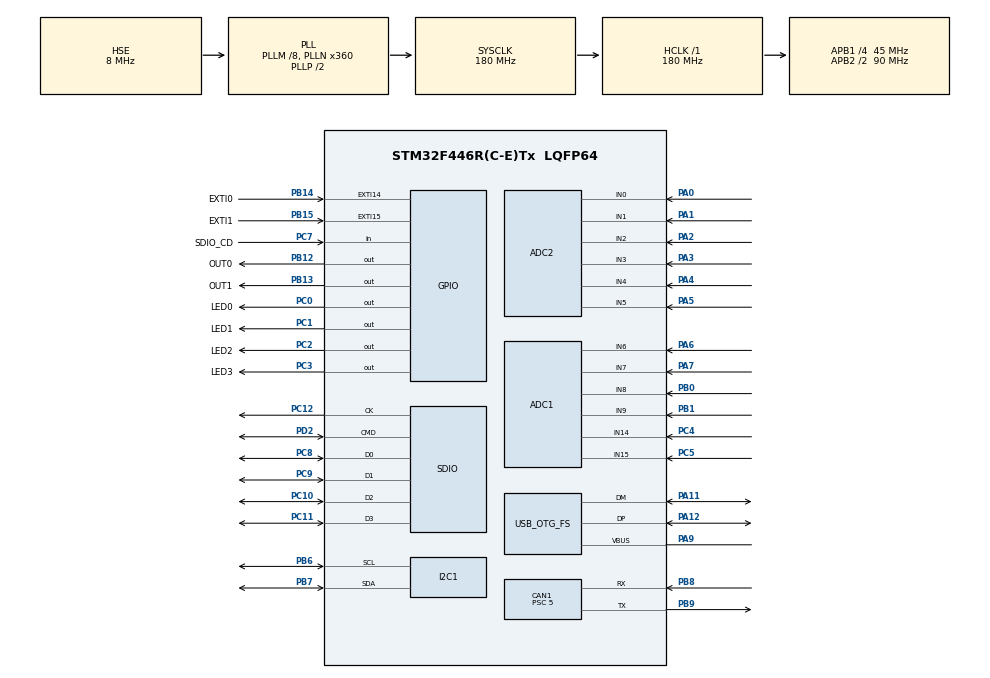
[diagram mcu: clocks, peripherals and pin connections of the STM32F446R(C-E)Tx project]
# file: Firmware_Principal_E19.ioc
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ADC1.Channel-0\#ChannelRegularConversion=ADC_CHANNEL_6
ADC1.Channel-1\#ChannelRegularConversion=ADC_CHANNEL_7
ADC1.Channel-2\#ChannelRegularConversion=ADC_CHANNEL_14
ADC1.Channel-3\#ChannelRegularConversion=ADC_CHANNEL_15
ADC1.Channel-4\#ChannelRegularConversion=ADC_CHANNEL_8
ADC1.Channel-5\#ChannelRegularConversion=ADC_CHANNEL_9
ADC1.ContinuousConvMode=ENABLE
ADC1.DMAContinuousRequests=ENABLE
ADC1.NbrOfConversion=6
ADC1.NbrOfConversionFlag=1
ADC1.Rank-0\#ChannelRegularConversion=1
ADC1.Rank-1\#ChannelRegularConversion=2
ADC1.Rank-2\#ChannelRegularConversion=3
ADC1.Rank-3\#ChannelRegularConversion=4
ADC1.Rank-4\#ChannelRegularConversion=5
ADC1.Rank-5\#ChannelRegularConversion=6
ADC1.SamplingTime-0\#ChannelRegularConversion=ADC_SAMPLETIME_480CYCLES
ADC1.SamplingTime-1\#ChannelRegularConversion=ADC_SAMPLETIME_480CYCLES
ADC1.SamplingTime-2\#ChannelRegularConversion=ADC_SAMPLETIME_480CYCLES
ADC1.SamplingTime-3\#ChannelRegularConversion=ADC_SAMPLETIME_480CYCLES
ADC1.SamplingTime-4\#ChannelRegularConversion=ADC_SAMPLETIME_480CYCLES
ADC1.SamplingTime-5\#ChannelRegularConversion=ADC_SAMPLETIME_480CYCLES
ADC1.ScanConvMode=ENABLE
ADC1.master=1
ADC2.Channel-0\#ChannelRegularConversion=ADC_CHANNEL_0
ADC2.Channel-1\#ChannelRegularConversion=ADC_CHANNEL_1
ADC2.Channel-2\#ChannelRegularConversion=ADC_CHANNEL_2
ADC2.Channel-3\#ChannelRegularConversion=ADC_CHANNEL_3
ADC2.Channel-4\#ChannelRegularConversion=ADC_CHANNEL_4
ADC2.Channel-5\#ChannelRegularConversion=ADC_CHANNEL_5
ADC2.ContinuousConvMode=ENABLE
ADC2.DMAContinuousRequests=ENABLE
ADC2.NbrOfConversion=6
ADC2.NbrOfConversionFlag=1
ADC2.Rank-0\#ChannelRegularConversion=1
ADC2.Rank-1\#ChannelRegularConversion=2
ADC2.Rank-2\#ChannelRegularConversion=3
ADC2.Rank-3\#ChannelRegularConversion=4
ADC2.Rank-4\#ChannelRegularConversion=5
ADC2.Rank-5\#ChannelRegularConversion=6
ADC2.SamplingTime-0\#ChannelRegularConversion=ADC_SAMPLETIME_480CYCLES
ADC2.SamplingTime-1\#ChannelRegularConversion=ADC_SAMPLETIME_480CYCLES
ADC2.SamplingTime-2\#ChannelRegularConversion=ADC_SAMPLETIME_480CYCLES
ADC2.SamplingTime-3\#ChannelRegularConversion=ADC_SAMPLETIME_480CYCLES
ADC2.SamplingTime-4\#ChannelRegularConversion=ADC_SAMPLETIME_480CYCLES
ADC2.SamplingTime-5\#ChannelRegularConversion=ADC_SAMPLETIME_480CYCLES
ADC2.ScanConvMode=ENABLE
CAN1.BS1=CAN_BS1_7TQ
CAN1.CalculateBaudRate=1000000
CAN1.CalculateTimeBit=1000
CAN1.CalculateTimeQuantum=111.11111111111111
CAN1.Prescaler=5
CAN1.SJW=CAN_SJW_1TQ
Dma.ADC1.0.Direction=DMA_PERIPH_TO_MEMORY
Dma.ADC1.0.FIFOMode=DMA_FIFOMODE_DISABLE
Dma.ADC1.0.Instance=DMA2_Stream0
Dma.ADC1.0.MemDataAlignment=DMA_MDATAALIGN_HALFWORD
Dma.ADC1.0.MemInc=DMA_MINC_ENABLE
Dma.ADC1.0.Mode=DMA_CIRCULAR
Dma.ADC1.0.PeriphDataAlignment=DMA_PDATAALIGN_HALFWORD
Dma.ADC1.0.PeriphInc=DMA_PINC_DISABLE
Dma.ADC1.0.Priority=DMA_PRIORITY_LOW
Dma.ADC2.1.Direction=DMA_PERIPH_TO_MEMORY
Dma.ADC2.1.FIFOMode=DMA_FIFOMODE_DISABLE
Dma.ADC2.1.Instance=DMA2_Stream2
Dma.ADC2.1.MemDataAlignment=DMA_MDATAALIGN_HALFWORD
Dma.ADC2.1.MemInc=DMA_MINC_ENABLE
Dma.ADC2.1.Mode=DMA_CIRCULAR
Dma.ADC2.1.PeriphDataAlignment=DMA_PDATAALIGN_HALFWORD
Dma.ADC2.1.PeriphInc=DMA_PINC_DISABLE
Dma.ADC2.1.Priority=DMA_PRIORITY_LOW
Dma.Request0=ADC1
Dma.Request1=ADC2
FATFS.BSP.number=1
FATFS.USE_DMA_CODE_SD=0
FATFS._CODE_PAGE=437
FATFS._FS_LOCK=0
FATFS._MAX_SS=4096
FATFS._STRF_ENCODE=3
FATFS._USE_LFN=1
FATFS0.BSP.STBoard=false
FATFS0.BSP.api=Unknown
FATFS0.BSP.instance=PC7
FATFS0.BSP.ip=GPIO
FATFS0.BSP.mode=Input
FATFS0.BSP.name=Detect_SDIO
FATFS0.BSP.solution=PC7
I2C1.I2C_Mode=I2C_Fast
Mcu.Family=STM32F4
Mcu.Name=STM32F446R(C-E)Tx
Mcu.Package=LQFP64
NVIC.CAN1_RX0_IRQn=true\:1\:0\:true\:false\:true\:true\:true\:true
NVIC.DMA2_Stream0_IRQn=true\:2\:0\:true\:false\:true\:false\:true\:true
NVIC.DMA2_Stream2_IRQn=true\:2\:0\:true\:false\:true\:false\:true\:true
NVIC.EXTI15_10_IRQn=true\:1\:0\:true\:false\:true\:true\:true\:true
NVIC.OTG_FS_IRQn=true\:0\:0\:false\:false\:true\:true\:true\:true
NVIC.PriorityGroup=NVIC_PRIORITYGROUP_4
NVIC.SDIO_IRQn=true\:0\:0\:true\:false\:true\:true\:true\:true
NVIC.TIM7_IRQn=true\:0\:0\:false\:false\:true\:true\:true\:true
PA0-WKUP.Signal=ADCx_IN0
PA1.Signal=ADCx_IN1
PA11.Mode=Device_Only
PA11.Signal=USB_OTG_FS_DM
PA12.Mode=Device_Only
PA12.Signal=USB_OTG_FS_DP
PA13.Mode=Serial_Wire
PA13.Signal=SYS_JTMS-SWDIO
PA14.Mode=Serial_Wire
PA14.Signal=SYS_JTCK-SWCLK
PA2.Signal=ADCx_IN2
PA3.Signal=ADCx_IN3
PA4.Signal=ADCx_IN4
PA5.Signal=ADCx_IN5
PA6.Signal=ADCx_IN6
PA7.Signal=ADCx_IN7
PA9.Mode=Activate_VBUS
PA9.Signal=USB_OTG_FS_VBUS
PB0.Signal=ADCx_IN8
PB1.Signal=ADCx_IN9
PB12.GPIO_Label=OUT0
PB12.Signal=GPIO_Output
PB13.GPIO_Label=OUT1
PB13.Signal=GPIO_Output
PB14.GPIO_Label=EXTI0
PB14.GPIO_ModeDefaultEXTI=GPIO_MODE_IT_RISING_FALLING
PB14.Signal=GPXTI14
PB15.GPIO_Label=EXTI1
PB15.GPIO_ModeDefaultEXTI=GPIO_MODE_IT_RISING_FALLING
PB15.Signal=GPXTI15
PB6.Mode=I2C
PB6.Signal=I2C1_SCL
PB7.Mode=I2C
PB7.Signal=I2C1_SDA
PB8.Mode=CAN_Activate
PB8.Signal=CAN1_RX
PB9.Mode=CAN_Activate
PB9.Signal=CAN1_TX
PC0.GPIO_Label=LED0
PC0.Signal=GPIO_Output
PC1.GPIO_Label=LED1
PC1.Signal=GPIO_Output
PC10.Mode=SD_4_bits_Wide_bus
PC10.Signal=SDIO_D2
PC11.Mode=SD_4_bits_Wide_bus
PC11.Signal=SDIO_D3
PC12.Mode=SD_4_bits_Wide_bus
PC12.Signal=SDIO_CK
PC14-OSC32_IN.Mode=LSE-External-Oscillator
PC14-OSC32_IN.Signal=RCC_OSC32_IN
PC15-OSC32_OUT.Mode=LSE-External-Oscillator
PC15-OSC32_OUT.Signal=RCC_OSC32_OUT
PC2.GPIO_Label=LED2
PC2.Signal=GPIO_Output
PC3.GPIO_Label=LED3
PC3.Signal=GPIO_Output
PC4.Signal=ADCx_IN14
PC5.Signal=ADCx_IN15
PC7.GPIO_Label=SDIO_CD
PC7.Signal=GPIO_Input
PC8.Mode=SD_4_bits_Wide_bus
PC8.Signal=SDIO_D0
PC9.Mode=SD_4_bits_Wide_bus
PC9.Signal=SDIO_D1
PD2.Mode=SD_4_bits_Wide_bus
PD2.Signal=SDIO_CMD
PH0-OSC_IN.Mode=HSE-External-Oscillator
PH0-OSC_IN.Signal=RCC_OSC_IN
PH1-OSC_OUT.Mode=HSE-External-Oscillator
PH1-OSC_OUT.Signal=RCC_OSC_OUT
ProjectManager.HeapSize=0x1000
ProjectManager.StackSize=0x8000
ProjectManager.TargetToolchain=STM32CubeIDE
RCC.AHBFreq_Value=180000000
RCC.APB1CLKDivider=RCC_HCLK_DIV4
RCC.APB1Freq_Value=45000000
RCC.APB1TimFreq_Value=90000000
RCC.APB2CLKDivider=RCC_HCLK_DIV2
RCC.APB2Freq_Value=90000000
RCC.APB2TimFreq_Value=180000000
RCC.CortexFreq_Value=180000000
RCC.HCLKFreq_Value=180000000
RCC.HSE_VALUE=8000000
RCC.PLLM=8
RCC.PLLN=360
RCC.PLLQ=6
RCC.PLLSAIM=8
RCC.PLLSAIP=RCC_PLLSAIP_DIV4
RCC.PLLSourceVirtual=RCC_PLLSOURCE_HSE
RCC.RCC_RTC_Clock_SourceVirtual=RCC_RTCCLKSOURCE_LSE
RCC.SYSCLKFreq_VALUE=180000000
RCC.SYSCLKSource=RCC_SYSCLKSOURCE_PLLCLK
RCC.USBCLockSelection=RCC_CLK48CLKSOURCE_PLLSAIP
RCC.USBFreq_Value=48000000
RCC.VCOOutputFreq_Value=360000000
RTC.Format=RTC_FORMAT_BIN
SDIO.ClockDiv=2
SDIO.HardwareFlowControl=SDIO_HARDWARE_FLOW_CONTROL_ENABLE
SH.ADCx_IN0.0=ADC2_IN0,IN0
SH.ADCx_IN1.0=ADC2_IN1,IN1
SH.ADCx_IN14.0=ADC1_IN14,IN14
SH.ADCx_IN15.0=ADC1_IN15,IN15
SH.ADCx_IN2.0=ADC2_IN2,IN2
SH.ADCx_IN3.0=ADC2_IN3,IN3
SH.ADCx_IN4.0=ADC2_IN4,IN4
SH.ADCx_IN5.0=ADC2_IN5,IN5
SH.ADCx_IN6.0=ADC1_IN6,IN6
SH.ADCx_IN7.0=ADC1_IN7,IN7
SH.ADCx_IN8.0=ADC1_IN8,IN8
SH.ADCx_IN9.0=ADC1_IN9,IN9
TIM7.Period=999
TIM7.Prescaler=89
USB_DEVICE.CLASS_NAME_FS=MSC
USB_DEVICE.PRODUCT_STRING_MSC_FS=FSAE Datalogger
USB_DEVICE.VirtualMode-MSC_FS=Msc
USB_DEVICE.VirtualModeFS=Msc_FS
USB_OTG_FS.VirtualMode=Device_Only
VP_FATFS_VS_SDIO.Mode=SDIO
VP_RTC_VS_RTC_Activate.Mode=RTC_Enabled
VP_RTC_VS_RTC_Calendar.Mode=RTC_Calendar
VP_TIM7_VS_ClockSourceINT.Mode=Enable_Timer
VP_USB_DEVICE_VS_USB_DEVICE_MSC_FS.Mode=MSC_FS
board=custom

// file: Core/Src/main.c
/* USER CODE BEGIN Header */
/**
  ******************************************************************************
  * @file           : main.c
  * @brief          : Main program body
  ******************************************************************************
  * @attention
  *
  * Copyright (c) 2021 STMicroelectronics.
  * All rights reserved.
  *
  * This software is licensed under terms that can be found in the LICENSE file
  * in the root directory of this software component.
  * If no LICENSE file comes with this software, it is provided AS-IS.
  *
  ******************************************************************************
  */
/* USER CODE END Header */
#include "main.h"
#include "fatfs.h"
#include "usb_device.h"

/* USER CODE BEGIN Includes */
#include "principal.h"
/* USER CODE END Includes */

 ADC_HandleTypeDef hadc1;
ADC_HandleTypeDef hadc2;
DMA_HandleTypeDef hdma_adc1;
DMA_HandleTypeDef hdma_adc2;

CAN_HandleTypeDef hcan1;

I2C_HandleTypeDef hi2c1;

RTC_HandleTypeDef hrtc;

SD_HandleTypeDef hsd;

TIM_HandleTypeDef htim7;

void SystemClock_Config(void);
void PeriphCommonClock_Config(void);
static void MX_GPIO_Init(void);
static void MX_DMA_Init(void);
static void MX_SDIO_SD_Init(void);
static void MX_ADC1_Init(void);
static void MX_RTC_Init(void);
static void MX_ADC2_Init(void);
static void MX_CAN1_Init(void);
static void MX_I2C1_Init(void);
static void MX_TIM7_Init(void);

int main(void)
{

  /* MCU Configuration--------------------------------------------------------*/

  /* Reset of all peripherals, Initializes the Flash interface and the Systick. */
  HAL_Init();

  /* Configure the system clock */
  SystemClock_Config();

/* Configure the peripherals common clocks */
  PeriphCommonClock_Config();

  /* Initialize all configured peripherals */
  MX_GPIO_Init();
  MX_DMA_Init();
  MX_SDIO_SD_Init();
  MX_ADC1_Init();
  MX_RTC_Init();
  MX_FATFS_Init();
  MX_USB_DEVICE_Init();
  MX_ADC2_Init();
  MX_CAN1_Init();
  MX_I2C1_Init();
  MX_TIM7_Init();
  /* USER CODE BEGIN 2 */
  Principal_Init(&hcan1, &hi2c1, &htim7);
//  HAL_IWDG_Refresh(&hiwdg);
  /* USER CODE END 2 */

  /* Infinite loop */
  /* USER CODE BEGIN WHILE */
  while (1)
  {
	  //Checks card detect pin level change for datalogger initialization or deinitialization
	  Principal_Card_Detection();

	  //Starts saving data if conditions are met
	  Principal_Datalogger_Start();

	  //Analog inputs 1-4 CAN message
	  if((accMsg[ANALOG_1_4] >= perMsg[ANALOG_1_4]) && (perMsg[ANALOG_1_4] != MSG_DISABLED))
	  {
		  accMsg[ANALOG_1_4] -= perMsg[ANALOG_1_4];
		  Principal_Transmit_Msg(&hcan1, ANALOG_1_4);
	  }

	  //Analog inputs 5-8 CAN message
	  if((accMsg[ANALOG_5_8] >= perMsg[ANALOG_5_8]) && (perMsg[ANALOG_5_8] != MSG_DISABLED))
	  {
		  accMsg[ANALOG_5_8] -= perMsg[ANALOG_5_8];
		  Principal_Transmit_Msg(&hcan1, ANALOG_5_8);
	  }

	  //Analog inputs 9-12 CAN message
	  if((accMsg[ANALOG_9_12] >= perMsg[ANALOG_9_12]) && (perMsg[ANALOG_9_12] != MSG_DISABLED))
	  {
		  accMsg[ANALOG_9_12] -= perMsg[ANALOG_9_12];
		  Principal_Transmit_Msg(&hcan1, ANALOG_9_12);
	  }

	  //RTC, both date and time
	  if((accMsg[RTC_MSG] >= perMsg[RTC_MSG]) && (perMsg[RTC_MSG] != MSG_DISABLED))
	  {
		  accMsg[RTC_MSG] -= perMsg[RTC_MSG];
		  Principal_Transmit_Msg(&hcan1, RTC_MSG);
	  }

	  //Inputs and datalogger verify CAN message
	  if((accMsg[VERIFY_MSG] >= perMsg[VERIFY_MSG]) && (perMsg[VERIFY_MSG] != MSG_DISABLED))
	  {
		  accMsg[VERIFY_MSG] -= perMsg[VERIFY_MSG];
		  Principal_Transmit_Msg(&hcan1, VERIFY_MSG);
	  }

	  //ECU saved data (no transmission)
	  if((accMsg[ECU_SAVE] >= perMsg[ECU_SAVE]) && (perMsg[ECU_SAVE] != MSG_DISABLED))
	  {
		  accMsg[ECU_SAVE] -= perMsg[ECU_SAVE];
		  Principal_Transmit_Msg(&hcan1, ECU_SAVE);
	  }

	  //PDM saved data (no transmission)
	  if((accMsg[PDM_SAVE] >= perMsg[PDM_SAVE]) && (perMsg[PDM_SAVE] != MSG_DISABLED))
	  {
		  accMsg[PDM_SAVE] -= perMsg[PDM_SAVE];
//		  Principal_Transmit_Msg(&hcan1, PDM_SAVE);
	  }

	  if(accMsg[VERIFY_LEDS] >= MSG_FREQ_5HZ)
	  {
		  accMsg[VERIFY_LEDS] -= MSG_FREQ_5HZ;
		  Principal_Verify_LEDs();
	  }

//	  if((verifyCAN != 0) && (flagDatalogger != DL_ERROR))
//		  HAL_IWDG_Refresh(&hiwdg);
    /* USER CODE END WHILE */

  }
}

void SystemClock_Config(void)
{
  RCC_OscInitTypeDef RCC_OscInitStruct = {0};
  RCC_ClkInitTypeDef RCC_ClkInitStruct = {0};

  /** Configure the main internal regulator output voltage
  */
  __HAL_RCC_PWR_CLK_ENABLE();
  __HAL_PWR_VOLTAGESCALING_CONFIG(PWR_REGULATOR_VOLTAGE_SCALE1);

  /** Initializes the RCC Oscillators according to the specified parameters
  * in the RCC_OscInitTypeDef structure.
  */
  RCC_OscInitStruct.OscillatorType = RCC_OSCILLATORTYPE_HSE|RCC_OSCILLATORTYPE_LSE;
  RCC_OscInitStruct.HSEState = RCC_HSE_ON;
  RCC_OscInitStruct.LSEState = RCC_LSE_ON;
  RCC_OscInitStruct.PLL.PLLState = RCC_PLL_ON;
  RCC_OscInitStruct.PLL.PLLSource = RCC_PLLSOURCE_HSE;
  RCC_OscInitStruct.PLL.PLLM = 8;
  RCC_OscInitStruct.PLL.PLLN = 360;
  RCC_OscInitStruct.PLL.PLLP = RCC_PLLP_DIV2;
  RCC_OscInitStruct.PLL.PLLQ = 6;
  RCC_OscInitStruct.PLL.PLLR = 2;
  if (HAL_RCC_OscConfig(&RCC_OscInitStruct) != HAL_OK)
  {
    Error_Handler();
  }

  /** Activate the Over-Drive mode
  */
  if (HAL_PWREx_EnableOverDrive() != HAL_OK)
  {
    Error_Handler();
  }

  /** Initializes the CPU, AHB and APB buses clocks
  */
  RCC_ClkInitStruct.ClockType = RCC_CLOCKTYPE_HCLK|RCC_CLOCKTYPE_SYSCLK
                              |RCC_CLOCKTYPE_PCLK1|RCC_CLOCKTYPE_PCLK2;
  RCC_ClkInitStruct.SYSCLKSource = RCC_SYSCLKSOURCE_PLLCLK;
  RCC_ClkInitStruct.AHBCLKDivider = RCC_SYSCLK_DIV1;
  RCC_ClkInitStruct.APB1CLKDivider = RCC_HCLK_DIV4;
  RCC_ClkInitStruct.APB2CLKDivider = RCC_HCLK_DIV2;

  if (HAL_RCC_ClockConfig(&RCC_ClkInitStruct, FLASH_LATENCY_5) != HAL_OK)
  {
    Error_Handler();
  }
}

void PeriphCommonClock_Config(void)
{
  RCC_PeriphCLKInitTypeDef PeriphClkInitStruct = {0};

  /** Initializes the peripherals clock
  */
  PeriphClkInitStruct.PeriphClockSelection = RCC_PERIPHCLK_SDIO|RCC_PERIPHCLK_CLK48;
  PeriphClkInitStruct.PLLSAI.PLLSAIM = 8;
  PeriphClkInitStruct.PLLSAI.PLLSAIN = 192;
  PeriphClkInitStruct.PLLSAI.PLLSAIQ = 2;
  PeriphClkInitStruct.PLLSAI.PLLSAIP = RCC_PLLSAIP_DIV4;
  PeriphClkInitStruct.PLLSAIDivQ = 1;
  PeriphClkInitStruct.Clk48ClockSelection = RCC_CLK48CLKSOURCE_PLLSAIP;
  PeriphClkInitStruct.SdioClockSelection = RCC_SDIOCLKSOURCE_CLK48;
  if (HAL_RCCEx_PeriphCLKConfig(&PeriphClkInitStruct) != HAL_OK)
  {
    Error_Handler();
  }
}

static void MX_ADC1_Init(void)
{

  ADC_ChannelConfTypeDef sConfig = {0};

  /** Configure the global features of the ADC (Clock, Resolution, Data Alignment and number of conversion)
  */
  hadc1.Instance = ADC1;
  hadc1.Init.ClockPrescaler = ADC_CLOCK_SYNC_PCLK_DIV4;
  hadc1.Init.Resolution = ADC_RESOLUTION_12B;
  hadc1.Init.ScanConvMode = ENABLE;
  hadc1.Init.ContinuousConvMode = ENABLE;
  hadc1.Init.DiscontinuousConvMode = DISABLE;
  hadc1.Init.ExternalTrigConvEdge = ADC_EXTERNALTRIGCONVEDGE_NONE;
  hadc1.Init.ExternalTrigConv = ADC_SOFTWARE_START;
  hadc1.Init.DataAlign = ADC_DATAALIGN_RIGHT;
  hadc1.Init.NbrOfConversion = 6;
  hadc1.Init.DMAContinuousRequests = ENABLE;
  hadc1.Init.EOCSelection = ADC_EOC_SINGLE_CONV;
  if (HAL_ADC_Init(&hadc1) != HAL_OK)
  {
    Error_Handler();
  }

  /** Configure for the selected ADC regular channel its corresponding rank in the sequencer and its sample time.
  */
  sConfig.Channel = ADC_CHANNEL_6;
  sConfig.Rank = 1;
  sConfig.SamplingTime = ADC_SAMPLETIME_480CYCLES;
  if (HAL_ADC_ConfigChannel(&hadc1, &sConfig) != HAL_OK)
  {
    Error_Handler();
  }

  /** Configure for the selected ADC regular channel its corresponding rank in the sequencer and its sample time.
  */
  sConfig.Channel = ADC_CHANNEL_7;
  sConfig.Rank = 2;
  if (HAL_ADC_ConfigChannel(&hadc1, &sConfig) != HAL_OK)
  {
    Error_Handler();
  }

  /** Configure for the selected ADC regular channel its corresponding rank in the sequencer and its sample time.
  */
  sConfig.Channel = ADC_CHANNEL_14;
  sConfig.Rank = 3;
  if (HAL_ADC_ConfigChannel(&hadc1, &sConfig) != HAL_OK)
  {
    Error_Handler();
  }

  /** Configure for the selected ADC regular channel its corresponding rank in the sequencer and its sample time.
  */
  sConfig.Channel = ADC_CHANNEL_15;
  sConfig.Rank = 4;
  if (HAL_ADC_ConfigChannel(&hadc1, &sConfig) != HAL_OK)
  {
    Error_Handler();
  }

  /** Configure for the selected ADC regular channel its corresponding rank in the sequencer and its sample time.
  */
  sConfig.Channel = ADC_CHANNEL_8;
  sConfig.Rank = 5;
  if (HAL_ADC_ConfigChannel(&hadc1, &sConfig) != HAL_OK)
  {
    Error_Handler();
  }

  /** Configure for the selected ADC regular channel its corresponding rank in the sequencer and its sample time.
  */
  sConfig.Channel = ADC_CHANNEL_9;
  sConfig.Rank = 6;
  if (HAL_ADC_ConfigChannel(&hadc1, &sConfig) != HAL_OK)
  {
    Error_Handler();
  }

}

static void MX_ADC2_Init(void)
{

  ADC_ChannelConfTypeDef sConfig = {0};

  /** Configure the global features of the ADC (Clock, Resolution, Data Alignment and number of conversion)
  */
  hadc2.Instance = ADC2;
  hadc2.Init.ClockPrescaler = ADC_CLOCK_SYNC_PCLK_DIV4;
  hadc2.Init.Resolution = ADC_RESOLUTION_12B;
  hadc2.Init.ScanConvMode = ENABLE;
  hadc2.Init.ContinuousConvMode = ENABLE;
  hadc2.Init.DiscontinuousConvMode = DISABLE;
  hadc2.Init.ExternalTrigConvEdge = ADC_EXTERNALTRIGCONVEDGE_NONE;
  hadc2.Init.ExternalTrigConv = ADC_SOFTWARE_START;
  hadc2.Init.DataAlign = ADC_DATAALIGN_RIGHT;
  hadc2.Init.NbrOfConversion = 6;
  hadc2.Init.DMAContinuousRequests = ENABLE;
  hadc2.Init.EOCSelection = ADC_EOC_SINGLE_CONV;
  if (HAL_ADC_Init(&hadc2) != HAL_OK)
  {
    Error_Handler();
  }

  /** Configure for the selected ADC regular channel its corresponding rank in the sequencer and its sample time.
  */
  sConfig.Channel = ADC_CHANNEL_0;
  sConfig.Rank = 1;
  sConfig.SamplingTime = ADC_SAMPLETIME_480CYCLES;
  if (HAL_ADC_ConfigChannel(&hadc2, &sConfig) != HAL_OK)
  {
    Error_Handler();
  }

  /** Configure for the selected ADC regular channel its corresponding rank in the sequencer and its sample time.
  */
  sConfig.Channel = ADC_CHANNEL_1;
  sConfig.Rank = 2;
  if (HAL_ADC_ConfigChannel(&hadc2, &sConfig) != HAL_OK)
  {
    Error_Handler();
  }

  /** Configure for the selected ADC regular channel its corresponding rank in the sequencer and its sample time.
  */
  sConfig.Channel = ADC_CHANNEL_2;
  sConfig.Rank = 3;
  if (HAL_ADC_ConfigChannel(&hadc2, &sConfig) != HAL_OK)
  {
    Error_Handler();
  }

  /** Configure for the selected ADC regular channel its corresponding rank in the sequencer and its sample time.
  */
  sConfig.Channel = ADC_CHANNEL_3;
  sConfig.Rank = 4;
  if (HAL_ADC_ConfigChannel(&hadc2, &sConfig) != HAL_OK)
  {
    Error_Handler();
  }

  /** Configure for the selected ADC regular channel its corresponding rank in the sequencer and its sample time.
  */
  sConfig.Channel = ADC_CHANNEL_4;
  sConfig.Rank = 5;
  if (HAL_ADC_ConfigChannel(&hadc2, &sConfig) != HAL_OK)
  {
    Error_Handler();
  }

  /** Configure for the selected ADC regular channel its corresponding rank in the sequencer and its sample time.
  */
  sConfig.Channel = ADC_CHANNEL_5;
  sConfig.Rank = 6;
  if (HAL_ADC_ConfigChannel(&hadc2, &sConfig) != HAL_OK)
  {
    Error_Handler();
  }

}

static void MX_CAN1_Init(void)
{

  hcan1.Instance = CAN1;
  hcan1.Init.Prescaler = 5;
  hcan1.Init.Mode = CAN_MODE_NORMAL;
  hcan1.Init.SyncJumpWidth = CAN_SJW_1TQ;
  hcan1.Init.TimeSeg1 = CAN_BS1_7TQ;
  hcan1.Init.TimeSeg2 = CAN_BS2_1TQ;
  hcan1.Init.TimeTriggeredMode = DISABLE;
  hcan1.Init.AutoBusOff = DISABLE;
  hcan1.Init.AutoWakeUp = DISABLE;
  hcan1.Init.AutoRetransmission = DISABLE;
  hcan1.Init.ReceiveFifoLocked = DISABLE;
  hcan1.Init.TransmitFifoPriority = DISABLE;
  if (HAL_CAN_Init(&hcan1) != HAL_OK)
  {
    Error_Handler();
  }

}

static void MX_I2C1_Init(void)
{

  hi2c1.Instance = I2C1;
  hi2c1.Init.ClockSpeed = 400000;
  hi2c1.Init.DutyCycle = I2C_DUTYCYCLE_2;
  hi2c1.Init.OwnAddress1 = 0;
  hi2c1.Init.AddressingMode = I2C_ADDRESSINGMODE_7BIT;
  hi2c1.Init.DualAddressMode = I2C_DUALADDRESS_DISABLE;
  hi2c1.Init.OwnAddress2 = 0;
  hi2c1.Init.GeneralCallMode = I2C_GENERALCALL_DISABLE;
  hi2c1.Init.NoStretchMode = I2C_NOSTRETCH_DISABLE;
  if (HAL_I2C_Init(&hi2c1) != HAL_OK)
  {
    Error_Handler();
  }

}

static void MX_RTC_Init(void)
{

  RTC_TimeTypeDef sTime = {0};
  RTC_DateTypeDef sDate = {0};

  /** Initialize RTC Only
  */
  hrtc.Instance = RTC;
  hrtc.Init.HourFormat = RTC_HOURFORMAT_24;
  hrtc.Init.AsynchPrediv = 127;
  hrtc.Init.SynchPrediv = 255;
  hrtc.Init.OutPut = RTC_OUTPUT_DISABLE;
  hrtc.Init.OutPutPolarity = RTC_OUTPUT_POLARITY_HIGH;
  hrtc.Init.OutPutType = RTC_OUTPUT_TYPE_OPENDRAIN;
  if (HAL_RTC_Init(&hrtc) != HAL_OK)
  {
    Error_Handler();
  }

  /* USER CODE BEGIN Check_RTC_BKUP */
  return;
  /* USER CODE END Check_RTC_BKUP */

  /** Initialize RTC and set the Time and Date
  */
  sTime.Hours = 0;
  sTime.Minutes = 0;
  sTime.Seconds = 0;
  sTime.DayLightSaving = RTC_DAYLIGHTSAVING_NONE;
  sTime.StoreOperation = RTC_STOREOPERATION_RESET;
  if (HAL_RTC_SetTime(&hrtc, &sTime, RTC_FORMAT_BIN) != HAL_OK)
  {
    Error_Handler();
  }
  sDate.WeekDay = RTC_WEEKDAY_MONDAY;
  sDate.Month = RTC_MONTH_JANUARY;
  sDate.Date = 1;
  sDate.Year = 0;

  if (HAL_RTC_SetDate(&hrtc, &sDate, RTC_FORMAT_BIN) != HAL_OK)
  {
    Error_Handler();
  }

}

static void MX_SDIO_SD_Init(void)
{

  hsd.Instance = SDIO;
  hsd.Init.ClockEdge = SDIO_CLOCK_EDGE_RISING;
  hsd.Init.ClockBypass = SDIO_CLOCK_BYPASS_DISABLE;
  hsd.Init.ClockPowerSave = SDIO_CLOCK_POWER_SAVE_DISABLE;
  hsd.Init.BusWide = SDIO_BUS_WIDE_1B;
  hsd.Init.HardwareFlowControl = SDIO_HARDWARE_FLOW_CONTROL_ENABLE;
  hsd.Init.ClockDiv = 2;

}

static void MX_TIM7_Init(void)
{

  TIM_MasterConfigTypeDef sMasterConfig = {0};

  htim7.Instance = TIM7;
  htim7.Init.Prescaler = 89;
  htim7.Init.CounterMode = TIM_COUNTERMODE_UP;
  htim7.Init.Period = 999;
  htim7.Init.AutoReloadPreload = TIM_AUTORELOAD_PRELOAD_DISABLE;
  if (HAL_TIM_Base_Init(&htim7) != HAL_OK)
  {
    Error_Handler();
  }
  sMasterConfig.MasterOutputTrigger = TIM_TRGO_RESET;
  sMasterConfig.MasterSlaveMode = TIM_MASTERSLAVEMODE_DISABLE;
  if (HAL_TIMEx_MasterConfigSynchronization(&htim7, &sMasterConfig) != HAL_OK)
  {
    Error_Handler();
  }

}

static void MX_DMA_Init(void)
{

  /* DMA controller clock enable */
  __HAL_RCC_DMA2_CLK_ENABLE();

  /* DMA interrupt init */
  /* DMA2_Stream0_IRQn interrupt configuration */
  HAL_NVIC_SetPriority(DMA2_Stream0_IRQn, 2, 0);
  HAL_NVIC_EnableIRQ(DMA2_Stream0_IRQn);
  /* DMA2_Stream2_IRQn interrupt configuration */
  HAL_NVIC_SetPriority(DMA2_Stream2_IRQn, 2, 0);
  HAL_NVIC_EnableIRQ(DMA2_Stream2_IRQn);

}

static void MX_GPIO_Init(void)
{
  GPIO_InitTypeDef GPIO_InitStruct = {0};

  /* GPIO Ports Clock Enable */
  __HAL_RCC_GPIOC_CLK_ENABLE();
  __HAL_RCC_GPIOH_CLK_ENABLE();
  __HAL_RCC_GPIOA_CLK_ENABLE();
  __HAL_RCC_GPIOB_CLK_ENABLE();
  __HAL_RCC_GPIOD_CLK_ENABLE();

  /*Configure GPIO pin Output Level */
  HAL_GPIO_WritePin(GPIOC, LED0_Pin|LED1_Pin|LED2_Pin|LED3_Pin, GPIO_PIN_RESET);

  /*Configure GPIO pin Output Level */
  HAL_GPIO_WritePin(GPIOB, OUT0_Pin|OUT1_Pin, GPIO_PIN_RESET);

  /*Configure GPIO pins : LED0_Pin LED1_Pin LED2_Pin LED3_Pin */
  GPIO_InitStruct.Pin = LED0_Pin|LED1_Pin|LED2_Pin|LED3_Pin;
  GPIO_InitStruct.Mode = GPIO_MODE_OUTPUT_PP;
  GPIO_InitStruct.Pull = GPIO_NOPULL;
  GPIO_InitStruct.Speed = GPIO_SPEED_FREQ_LOW;
  HAL_GPIO_Init(GPIOC, &GPIO_InitStruct);

  /*Configure GPIO pins : OUT0_Pin OUT1_Pin */
  GPIO_InitStruct.Pin = OUT0_Pin|OUT1_Pin;
  GPIO_InitStruct.Mode = GPIO_MODE_OUTPUT_PP;
  GPIO_InitStruct.Pull = GPIO_NOPULL;
  GPIO_InitStruct.Speed = GPIO_SPEED_FREQ_LOW;
  HAL_GPIO_Init(GPIOB, &GPIO_InitStruct);

  /*Configure GPIO pins : EXTI0_Pin EXTI1_Pin */
  GPIO_InitStruct.Pin = EXTI0_Pin|EXTI1_Pin;
  GPIO_InitStruct.Mode = GPIO_MODE_IT_RISING_FALLING;
  GPIO_InitStruct.Pull = GPIO_NOPULL;
  HAL_GPIO_Init(GPIOB, &GPIO_InitStruct);

  /*Configure GPIO pin : SDIO_CD_Pin */
  GPIO_InitStruct.Pin = SDIO_CD_Pin;
  GPIO_InitStruct.Mode = GPIO_MODE_INPUT;
  GPIO_InitStruct.Pull = GPIO_NOPULL;
  HAL_GPIO_Init(SDIO_CD_GPIO_Port, &GPIO_InitStruct);

  /* EXTI interrupt init*/
  HAL_NVIC_SetPriority(EXTI15_10_IRQn, 1, 0);
  HAL_NVIC_EnableIRQ(EXTI15_10_IRQn);

}

void Error_Handler(void)
{
  __disable_irq();
  while (1)
  {
  }
}
